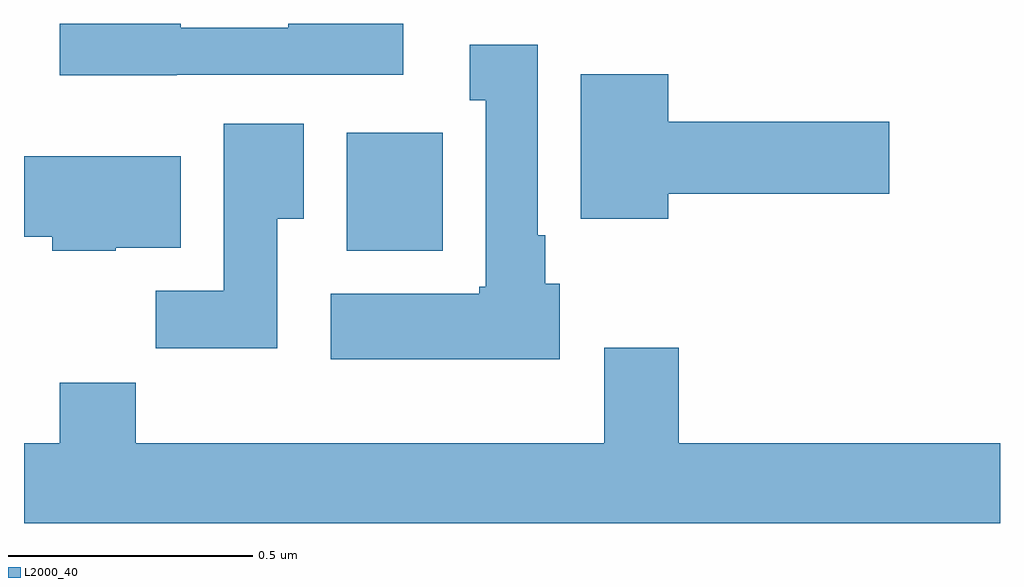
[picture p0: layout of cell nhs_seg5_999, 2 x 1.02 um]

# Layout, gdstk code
import gdstk
lib = gdstk.Library(unit=1e-6, precision=1e-09)
def R(c, l, rs):  # rectangles x0, y0, x1, y1
    for r in rs: c.add(gdstk.rectangle(r[:2], r[2:], *l))
def P(c, l, *ps):  # polygons
    for p in ps: c.add(gdstk.Polygon(p, *l))
L2000_40 = (2000, 40)

nhs_seg5_999 = lib.new_cell('nhs_seg5_999')
R(nhs_seg5_999, L2000_40, [(124.661,841.334,124.858,841.576)])
P(nhs_seg5_999, L2000_40, [(124.313,841.695),(124.777,841.695),(124.777,841.799),(124.541,841.799),(124.541,841.791),(124.321,841.791),(124.321,841.799),(124.073,841.799),(124.073,841.694),(124.313,841.694)],
  [(125.098,841.266),(125.068,841.266),(125.068,841.366),(125.053,841.366),(125.053,841.756),(124.913,841.756),(124.913,841.643),(124.946,841.643),(124.946,841.26),(124.933,841.26),(124.933,841.246),(124.629,841.246),(124.629,841.112),(125.098,841.112)],
  [(125.32,841.451),(125.773,841.451),(125.773,841.598),(125.32,841.598),(125.32,841.696),(125.141,841.696),(125.141,841.4),(125.32,841.4)],
  [(124.519,841.4),(124.573,841.4),(124.573,841.594),(124.409,841.594),(124.409,841.252),(124.27,841.252),(124.27,841.134),(124.519,841.134)],
  [(124.188,841.34),(124.321,841.34),(124.321,841.528),(124,841.528),(124,841.363),(124.058,841.363),(124.058,841.334),(124.188,841.334)],
  [(126,840.94),(125.342,840.94),(125.342,841.135),(125.189,841.135),(125.189,840.94),(124.229,840.94),(124.229,841.064),(124.073,841.064),(124.073,840.94),(124,840.94),(124,840.776),(126,840.776)])

lib.write_gds('nhs_seg5_999.gds')
